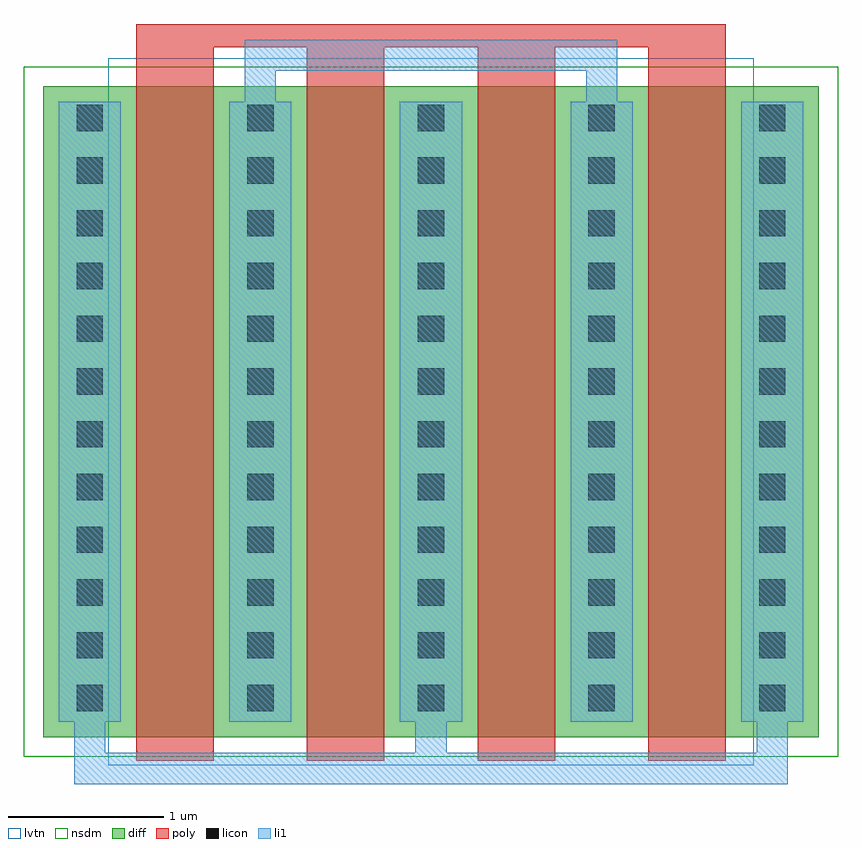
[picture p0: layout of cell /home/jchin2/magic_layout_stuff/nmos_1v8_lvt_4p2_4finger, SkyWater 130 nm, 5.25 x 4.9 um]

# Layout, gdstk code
import gdstk
lib = gdstk.Library(unit=1e-6, precision=1e-09)
def R(c, l, rs):  # rectangles x0, y0, x1, y1
    for r in rs: c.add(gdstk.rectangle(r[:2], r[2:], *l))
def A(c, l, x, y, w, h, nx, ny, dx, dy):  # array of equal rectangles
    R(c, l, [(x+i*dx, y+j*dy, x+i*dx+w, y+j*dy+h) for i in range(nx) for j in range(ny)])
diff = (65, 20)
poly = (66, 20)
licon = (66, 44)
li1 = (67, 20)
nsdm = (93, 44)
lvtn = (125, 44)

c__home_jchin2_magic_layou = lib.new_cell('/home/jchin2/magic_layout_stuff/nmos_1v8_lvt_4p2_4finger')
R(c__home_jchin2_magic_layou, diff, [(-8.25,0.3,-3.25,4.5)])
A(c__home_jchin2_magic_layou, poly, -7.65, 0.15, 0.5, 4.6, 4, 1, 1.1, 0)
R(c__home_jchin2_magic_layou, poly, [(-7.65,4.75,-3.85,4.9)])
A(c__home_jchin2_magic_layou, licon, -8.035, 0.47, 0.17, 0.17, 5, 12, 1.1, 0.34)
A(c__home_jchin2_magic_layou, li1, -8.05, 0.2, 0.2, 0.2, 3, 1, 2.2, 0)
A(c__home_jchin2_magic_layou, li1, -8.15, 0.4, 0.4, 4, 5, 1, 1.1, 0)
R(c__home_jchin2_magic_layou, li1, [(-8.05,0,-3.45,0.2), (-6.95,4.4,-6.75,4.6), (-4.75,4.4,-4.55,4.6), (-6.95,4.6,-4.55,4.8)])
R(c__home_jchin2_magic_layou, nsdm, [(-8.375,0.175,-3.125,4.625)])
R(c__home_jchin2_magic_layou, lvtn, [(-7.83,0.12,-3.67,4.68)])

lib.write_gds('_home_jchin2_magic_layout_stuff_nmos_1v8_lvt_4p2_4finger.gds')
